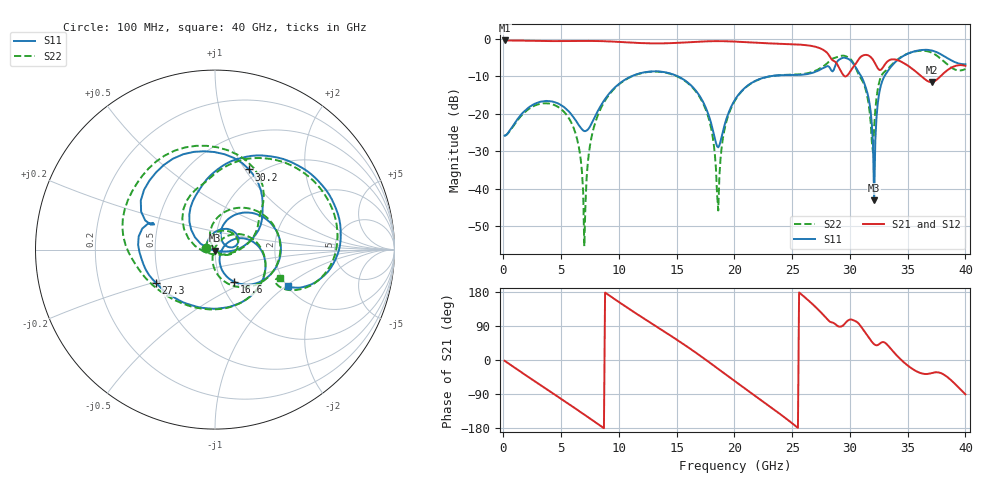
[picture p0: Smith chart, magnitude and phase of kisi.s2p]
! BV_ts_refinout2_in2gnd: REFINOUT2 diagnosis: In2 as a solid GND plane (antipad r 0.33), joined to every GND via
! stackup: Thunderscope_Rev5.3 from the board file and its kisi.json
! ports: 1 in, 2 out
! kisi-fdtd, conformal, dfine 0.035 mm, 953568 cells
# Hz S RI R 50
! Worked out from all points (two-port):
!   400 points, 100 MHz to 40 GHz, reference 50 ohm
!   highest |S21| = -0.45 dB at 100 MHz (marker M1); lowest = -11.6 dB at 37.1 GHz (marker M2)
!   |S21| within 3 dB of the highest: start of sweep to 27.92 GHz
!   lowest |S11| = -43.2 dB at 32.1 GHz (marker M3), VSWR 1.01, Z = 49.7 - j0.638 ohm
!   |S11| at or under -10 dB: start of sweep to 11.1 GHz; 15.08 GHz to 23.12 GHz (8.034 GHz wide, 42.1 % of centre); 30.97 GHz to 32.99 GHz (2.017 GHz wide, 6.31 % of centre)
!   |S22| runs from -55.4 to -3.2 dB; largest |S21 - S12| = 0.0025
!   S11 on the Smith chart (normalised r, x): 100 MHz: 0.90, +0.01; 16.6 GHz: 1.15, -0.43; 27.3 GHz: 0.48, -0.21; 30.2 GHz: 0.89, +1.04; 40 GHz: 2.03, -1.04
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1e8  -0.0503 0.00789  0.9489 -0.0347  0.949 -0.0349  -0.0503 0.0076
4.5e9  0.1308 0.053  -0.0413 -0.9298  -0.0412 -0.93  0.1273 0.0182
6.8e9  0.057 0.0246  -0.7156 -0.6034  -0.7155 -0.6032  0.0116 -0.0119
7e9  0.049 0.0321  -0.758 -0.5495  -0.7579 -0.5496  0.000599 -0.0016
7.3e9  0.04 0.0465  -0.8137 -0.4628  -0.8138 -0.4627  -0.0133 0.0172
8.3e9  0.0358 0.1124  -0.9215 -0.1375  -0.9215 -0.1376  -0.0261 0.1033
1.34e10  0.3657 -0.0213  0.0705 0.8643  0.0704 0.8643  0.3632 -0.015
1.66e10  0.1062 -0.1791  0.8513 0.3201  0.8512 0.3201  0.0731 -0.19
1.8e10  0.026 -0.0681  0.9135 -0.1623  0.9135 -0.1623  -0.0136 -0.0607
1.86e10  0.0339 -0.0108  0.8523 -0.3712  0.8523 -0.3711  -0.00209 0.00466
1.9e10  0.0533 0.0216  0.7826 -0.4994  0.7825 -0.4995  0.0216 0.0415
2.01e10  0.1446 0.0635  0.4958 -0.7707  0.4959 -0.7709  0.1283 0.0869
2.29e10  0.2719 -0.1533  -0.4217 -0.7609  -0.4217 -0.7608  0.2693 -0.1561
2.67e10  -0.216 -0.2734  -0.6875 0.4107  -0.688 0.4113  -0.2216 -0.2827
2.73e10  -0.3294 -0.1847  -0.5034 0.5667  -0.5038 0.5681  -0.3328 -0.21
3.02e10  0.1901 0.4466  -0.112 0.3862  -0.1107 0.3869  0.2162 0.4541
3.17e10  0.137 0.00642  0.3254 0.4883  0.3259 0.4886  0.1087 -0.0128
3.21e10  -0.00268 -0.00641  0.3697 0.3279  0.3694 0.3285  -0.0649 -0.00999
3.24e10  -0.1121 0.0692  0.3144 0.2574  0.3145 0.2567  -0.1729 0.115
3.34e10  -0.0463 0.391  0.4253 0.2946  0.4254 0.2946  -0.00963 0.4151
3.71e10  0.6965 0.0242  0.2178 -0.1494  0.2178 -0.1488  0.6451 -0.0843
4e10  0.4094 -0.2017  -0.00392 -0.4351  -0.00477 -0.4353  0.3621 -0.1571
